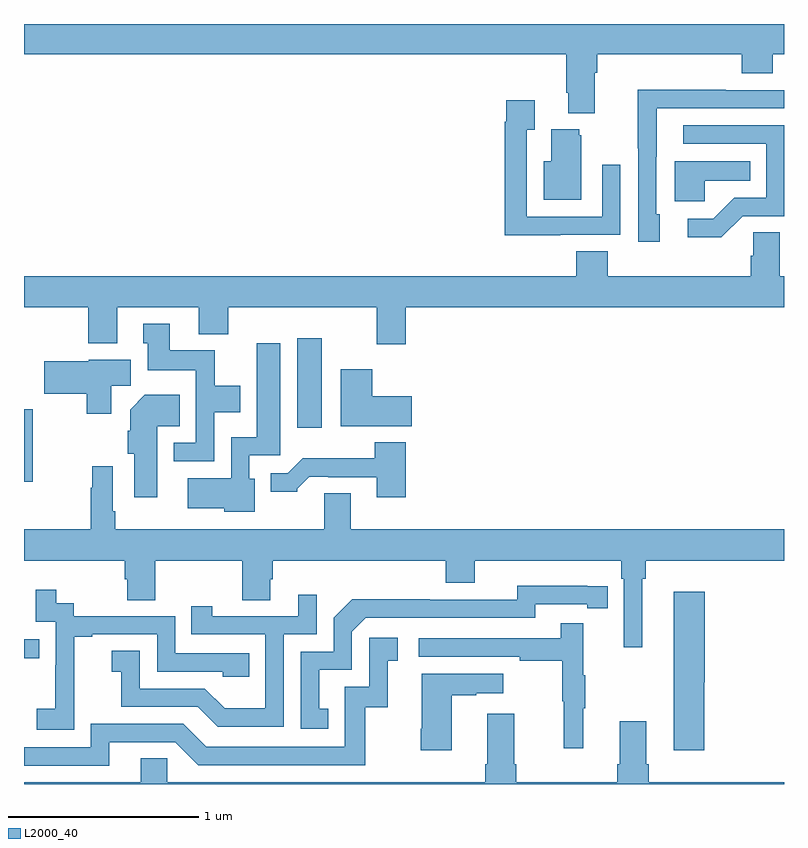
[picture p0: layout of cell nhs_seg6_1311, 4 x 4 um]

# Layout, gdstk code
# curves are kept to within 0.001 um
import gdstk
lib = gdstk.Library(unit=1e-6, precision=1e-09)
def R(c, l, rs):  # rectangles x0, y0, x1, y1
    for r in rs: c.add(gdstk.rectangle(r[:2], r[2:], *l))
def P(c, l, *ps):  # polygons
    for p in ps: c.add(gdstk.Polygon(p, *l))
L2000_40 = (2000, 40)

nhs_seg6_1311 = lib.new_cell('nhs_seg6_1311')
R(nhs_seg6_1311, L2000_40, [(191,940.162,191.081,940.263), (191,941.091,191.045,941.472), (192.437,941.376,192.568,941.845)])
P(nhs_seg6_1311, L2000_40, [(194.005,943.244),(194.018,943.244),(194.018,943.34),(194.777,943.34),(194.777,943.241),(194.942,943.241),(194.942,943.34),(195,943.34),(195,943.5),(191,943.5),(191,943.34),(193.853,943.34),(193.853,943.138),(193.865,943.138),(193.865,943.031),(194.005,943.031)],
  [(194.347,942.498),(194.328,942.498),(194.328,942.802),(194.329,942.802),(194.329,943.056),(195,943.056),(195,943.152),(194.693,943.152),(194.693,943.154),(194.23,943.154),(194.23,942.847),(194.232,942.847),(194.232,942.354),(194.347,942.354)],
  [(193.823,942.39),(194.139,942.39),(194.139,942.76),(194.043,942.76),(194.043,942.486),(193.647,942.486),(193.647,942.943),(193.687,942.943),(193.687,943.099),(193.539,943.099),(193.539,942.986),(193.531,942.986),(193.531,942.389),(193.823,942.389)],
  [(194.784,942.489),(195,942.489),(195,942.966),(194.469,942.966),(194.469,942.87),(194.907,942.87),(194.907,942.585),(194.738,942.585),(194.627,942.474),(194.493,942.474),(194.493,942.377),(194.671,942.377)],
  [(193.933,942.915),(193.922,942.915),(193.922,942.946),(193.775,942.946),(193.775,942.778),(193.736,942.778),(193.736,942.575),(193.933,942.575)],
  [(194.583,942.674),(194.822,942.674),(194.822,942.778),(194.426,942.778),(194.426,942.566),(194.583,942.566)],
  [(193.01,942.008),(195,942.008),(195,942.172),(194.977,942.172),(194.977,942.404),(194.838,942.404),(194.838,942.281),(194.825,942.281),(194.825,942.172),(194.072,942.172),(194.072,942.305),(193.907,942.305),(193.907,942.172),(191,942.172),(191,942.008),(191.339,942.008),(191.339,941.819),(191.491,941.819),(191.491,942.008),(191.921,942.008),(191.921,941.867),(192.074,941.867),(192.074,942.008),(192.857,942.008),(192.857,941.814),(193.01,941.814)],
  [(192,941.456),(192.139,941.456),(192.139,941.596),(192.003,941.596),(192.003,941.782),(191.767,941.782),(191.767,941.923),(191.627,941.923),(191.627,941.82),(191.651,941.82),(191.651,941.678),(191.904,941.678),(191.904,941.295),(191.787,941.295),(191.787,941.199),(192,941.199)],
  [(192.214,941.106),(192.186,941.106),(192.186,941.229),(192.349,941.229),(192.349,941.821),(192.224,941.821),(192.224,941.326),(192.09,941.326),(192.09,941.11),(191.862,941.11),(191.862,940.952),(192.054,940.952),(192.054,940.934),(192.214,940.934)],
  [(191.458,941.596),(191.563,941.596),(191.563,941.734),(191.34,941.734),(191.34,941.725),(191.106,941.725),(191.106,941.555),(191.329,941.555),(191.329,941.448),(191.458,941.448)],
  [(193.042,941.542),(192.832,941.542),(192.832,941.683),(192.668,941.683),(192.668,941.384),(193.042,941.384)],
  [(191.701,941.384),(191.819,941.384),(191.819,941.548),(191.636,941.548),(191.558,941.47),(191.558,941.36),(191.546,941.36),(191.546,941.238),(191.579,941.238),(191.579,941.01),(191.701,941.01)],
  [(193.01,941.299),(192.845,941.299),(192.845,941.215),(192.466,941.215),(192.387,941.136),(192.299,941.136),(192.299,941.039),(192.438,941.039),(192.438,941.054),(192.502,941.118),(192.601,941.118),(192.601,941.115),(192.857,941.115),(192.857,941.01),(193.01,941.01)],
  [(194.254,940.58),(194.273,940.58),(194.273,940.676),(195,940.676),(195,940.84),(192.721,940.84),(192.721,941.03),(192.581,941.03),(192.581,940.84),(191.479,940.84),(191.479,940.936),(191.466,940.936),(191.466,941.173),(191.358,941.173),(191.358,941.06),(191.35,941.06),(191.35,940.84),(191,940.84),(191,940.676),(191.531,940.676),(191.531,940.578),(191.543,940.578),(191.543,940.468),(191.691,940.468),(191.691,940.676),(192.148,940.676),(192.148,940.468),(192.295,940.468),(192.295,940.578),(192.308,940.578),(192.308,940.676),(193.22,940.676),(193.22,940.559),(193.372,940.559),(193.372,940.676),(194.144,940.676),(194.144,940.58),(194.157,940.58),(194.157,940.221),(194.254,940.221)],
  [(192.602,939.897),(192.553,939.897),(192.553,940.101),(192.726,940.101),(192.726,940.302),(192.798,940.374),(193.692,940.374),(193.692,940.446),(193.964,940.446),(193.964,940.426),(194.072,940.426),(194.072,940.542),(193.596,940.543),(193.596,940.47),(193.136,940.47),(193.136,940.472),(192.728,940.472),(192.63,940.374),(192.63,940.197),(192.456,940.197),(192.456,939.792),(192.602,939.792)],
  [(191.265,939.991),(191.264,939.991),(191.264,940.275),(191.359,940.275),(191.359,940.287),(191.7,940.287),(191.7,940.092),(192.045,940.092),(192.045,940.065),(192.185,940.065),(192.185,940.188),(191.796,940.188),(191.796,940.383),(191.262,940.383),(191.262,940.452),(191.17,940.452),(191.17,940.522),(191.061,940.522),(191.061,940.353),(191.166,940.353),(191.166,940.124),(191.165,940.124),(191.165,939.895),(191.067,939.895),(191.067,939.785),(191.265,939.785)],
  [(194.579,940.035),(194.584,940.035),(194.584,940.513),(194.42,940.513),(194.42,939.678),(194.579,939.678)],
  [(192.366,940.287),(192.54,940.287),(192.54,940.495),(192.443,940.495),(192.443,940.383),(191.992,940.383),(191.992,940.435),(191.881,940.435),(191.881,940.287),(192.27,940.287),(192.27,939.898),(192.056,939.898),(191.952,940.002),(191.61,940.002),(191.61,940.201),(191.463,940.201),(191.463,940.091),(191.512,940.091),(191.512,939.906),(191.915,939.906),(192.02,939.801),(192.366,939.801)],
  [(193.943,939.899),(193.954,939.899),(193.954,940.073),(193.943,940.073),(193.943,940.345),(193.825,940.345),(193.825,940.266),(193.077,940.266),(193.077,940.17),(193.609,940.17),(193.609,940.15),(193.833,940.15),(193.833,939.936),(193.84,939.936),(193.84,939.687),(193.943,939.687)],
  [(191.449,939.72),(191.796,939.72),(191.916,939.6),(192.796,939.6),(192.796,939.903),(192.914,939.903),(192.914,940.149),(192.967,940.149),(192.967,940.27),(192.816,940.27),(192.816,940.011),(192.687,940.011),(192.687,939.696),(191.958,939.696),(191.838,939.816),(191.352,939.816),(191.352,939.693),(191,939.693),(191,939.597),(191.449,939.597)],
  [(193.252,939.967),(193.379,939.967),(193.379,939.977),(193.522,939.977),(193.522,940.081),(193.094,940.081),(193.094,939.79),(193.087,939.79),(193.087,939.678),(193.252,939.678)],
  [(195,939.508),(194.288,939.508),(194.288,939.604),(194.275,939.604),(194.275,939.829),(194.135,939.829),(194.135,939.604),(194.123,939.604),(194.123,939.508),(193.592,939.508),(193.592,939.604),(193.579,939.604),(193.579,939.871),(193.439,939.871),(193.439,939.604),(193.427,939.604),(193.427,939.508),(191.754,939.508),(191.754,939.635),(191.615,939.635),(191.615,939.508),(191,939.508),(191,939.5),(195,939.5)])

lib.write_gds('nhs_seg6_1311.gds')
